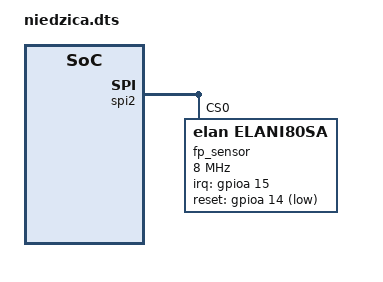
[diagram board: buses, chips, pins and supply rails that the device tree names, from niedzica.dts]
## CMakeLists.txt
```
# Copyright 2026 The ChromiumOS Authors
# Use of this source code is governed by a BSD-style license that can be
# found in the LICENSE file.

zephyr_library_sources("src/platform.c")
```

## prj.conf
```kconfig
# Copyright 2026 The ChromiumOS Authors
# Use of this source code is governed by a BSD-style license that can be
# found in the LICENSE file.

CONFIG_BOARD_EM32F967=y

# The NULL pointer exception page size must be a power of two
# and have size greater or equal ARM_MPU_REGION_MIN_ALIGN_AND_SIZE
CONFIG_CORTEX_M_NULL_POINTER_EXCEPTION_PAGE_SIZE=0x80

# Peripherials
CONFIG_GPIO=y
CONFIG_PWM=y
CONFIG_LED=y
CONFIG_LED_PWM=y
CONFIG_LED_GPIO=n
CONFIG_PINCTRL=y
CONFIG_FLASH_EM32=y
CONFIG_SERIAL=y
CONFIG_CONSOLE=y
CONFIG_UART_CONSOLE=y
CONFIG_UART_EM32=y
CONFIG_CLOCK_CONTROL=y
CONFIG_CLOCK_CONTROL_EM32_AHB=y
CONFIG_CLOCK_CONTROL_EM32_APB=y
CONFIG_DYNAMIC_INTERRUPTS=y

# Stack and rollback protection
CONFIG_ARM_MPU=y
CONFIG_HW_STACK_PROTECTION=y

# USB for host commands
CONFIG_UDC_DRIVER=y
CONFIG_USB_DEVICE_STACK_NEXT=y
CONFIG_UDC_BUF_POOL_SIZE=2048
CONFIG_EC_HOST_CMD_HANDLER_RX_BUFFER_SIZE=528
CONFIG_EC_HOST_CMD_HANDLER_TX_BUFFER_SIZE=520

# Watchdog
CONFIG_PLATFORM_EC_WATCHDOG_PERIOD_MS=10000
CONFIG_PLATFORM_EC_WATCHDOG_WARNING_LEADING_TIME_MS=3000

# MKBP
CONFIG_PLATFORM_EC_MKBP_USE_GPIO=n
CONFIG_PLATFORM_EC_MKBP_USE_USB=y

# Arch init for RO -> RW jump
CONFIG_INIT_ARCH_HW_AT_BOOT=y

CONFIG_USB_DEVICE_MANUFACTURER="Google"
CONFIG_USB_DEVICE_PRODUCT="FPMCU"
CONFIG_USB_DEVICE_VID=0x18D1
CONFIG_USB_DEVICE_PID=0x5405
CONFIG_USB_DEVICE_SELF_POWERED=n
CONFIG_USB_DEVICE_REMOTE_WAKEUP=y
CONFIG_USB_DEVICE_SN="0"
CONFIG_USB_DEVICE_SN_HWINFO=y
CONFIG_USB_DEVICE_MAX_POWER=250

# Make possibility to enter bootloader
CONFIG_PLATFORM_EC_HOST_COMMAND_ENTER_BOOTLOADER=y

# No access to hardware WP pin, use external method
CONFIG_PLATFORM_EC_WP_EXTERNAL=y

# Make sure to start shell before main
CONFIG_PLATFORM_EC_CONSOLE_START_SHELL_TASK=y

# TODO(b/450715297): Enable power saving mode once supported
CONFIG_PM=n
CONFIG_PM_DEVICE=n

# Current rollback version value.
CONFIG_PLATFORM_EC_ROLLBACK_VERSION=1

# Enable signaling logs via events to allow autosuspend
CONFIG_PLATFORM_EC_HOSTCMD_CONSOLE_EVENT=y

# ASCP s_goog replacement
CONFIG_ASCP_S_GOOG_MATCH_FILE="s_goog_match.bin"
CONFIG_ASCP_S_GOOG_REPLACE_FILE="s_goog_replace.bin"
```

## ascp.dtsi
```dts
/* Copyright 2026 The ChromiumOS Authors.
 * Use of this source code is governed by a BSD-style license that can be
 * found in the LICENSE file.
 */

/ {
	ascp: ascp_node {
		compatible = "cros-ec,ascp-mem-map";
		pk-m = <&sdcp_pk_m>;
		s-goog = <&sdcp_s_goog>;
		pk-d = <&sdcp_pk_d>;
		s-m = <&sdcp_s_m>;
		pk-f = <&sdcp_pk_f>;
		h-f = <&sdcp_h_f>;
		s-d = <&sdcp_s_d>;
		sk-f = <&sdcp_sk_f>;
	};
};
```

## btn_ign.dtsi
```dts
/* Copyright 2026 The ChromiumOS Authors
 * Use of this source code is governed by a BSD-style license that can be
 * found in the LICENSE file.
 */

/ {
	aliases {
		gpio-btn-ign-out = &gpio_btn_ign_out;
	};
};
```

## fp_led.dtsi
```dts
/* Copyright 2026 The ChromiumOS Authors.
 * Use of this source code is governed by a BSD-style license that can be
 * found in the LICENSE file.
 */

/{
	pwmleds {
		compatible = "pwm-leds";

		fp_led: fp_led {
			pwms = <&pwm0 1 PWM_MSEC(20) PWM_POLARITY_NORMAL>;
		};
	};

	aliases {
		pwm-fp-led = &fp_led;
	};
};
```

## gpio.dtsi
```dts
/* Copyright 2026 The ChromiumOS Authors.
 * Use of this source code is governed by a BSD-style license that can be
 * found in the LICENSE file.
 */

#include <dt-bindings/gpio_defines.h>

/ {
	named-gpios {
		compatible = "named-gpios";

		entering-rw {
			enum-name = "GPIO_ENTERING_RW";
		};
	};
};
```

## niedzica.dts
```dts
/* Copyright 2026 The ChromiumOS Authors.
 * Use of this source code is governed by a BSD-style license that can be
 * found in the LICENSE file.
 */

#include <elan/32f967_dv_priv.dtsi>

#include "soc.dtsi"
#include "gpio.dtsi"
#include "rwsig.dtsi"
#include "btn_ign.dtsi"
#include "ascp.dtsi"
#include "fp_led.dtsi"
#include <mem.h>

#include <cros/integrated_fwid.dtsi>
#include <cros/integrated_ro_frid.dtsi>

#define ELANI80SA_COMMON_IMAGE_PROPS \
	width = <80>; \
	height = <80>; \
	bits-per-pixel = <14>; \
	frame-size = <12800>; \
	image-data-offset-bytes = <0>; \
	v4l2-pixel-format = "V4L2_PIX_FMT_GREY";

/ {
	chosen {
		cros-fp,fingerprint-sensor = &fp_sensor;
	};
	named-bbram-regions {
		compatible = "named-bbram-regions";

		scratchpad {
			offset = <0x00>;
			size = <0x02>;
		};
		saved-reset-flags {
			offset = <0x02>;
			size = <0x04>;
		};
		saved-panic-reason {
			offset = <0x06>;
			size = <0x02>;
		};
		saved-panic-info {
			offset = <0x08>;
			size = <0x02>;
		};
		saved-panic-exception {
			offset = <0x0a>;
			size = <0x02>;
		};
		saved-panic-flags {
			offset = <0x0c>;
			size = <0x02>;
		};
	};

	/* Erase unit 8k, flash size for firmware 536k. The rest is used for
	 * base image and ROM code
	 */
	binman {
		/* 128kB of RO */
		wp-ro {
			size = <0x20000>;
			ec-ro {
				size = <0x20000>;
				pad-byte = <0xff>;
				ro-fw {
					/*
					 * Clang doesn't emit STT_SECTION symbols (also
					 * called 'section symbols'), so 'rom_start'
					 * symbol is not available. Fortunately, Zephyr
					 * linker scripts provide '__rom_start_address'
					 * symbol which points to the beginning of
					 * 'rom_start' section.
					 */
					elf-base-sym = "__rom_start_address";
				};
				/* SHA256 checksum */
				ro-checksum {
					compatible = "cros-ec,flash-layout";
					type = "section";
					offset = <(0x20000-32)>;
					size = <32>;
					pad-byte = <0xff>;
				};
			};
		};

		/* 8k per rollback */
		rollback0 {
			offset = <0x20000>;
			size = <0x2000>;
			type = "blob";
			filename = "../build-rw/rollback_initial_data.bin";
		};

		rollback1 {
			offset = <0x22000>;
			size = <0x2000>;
			type = "blob";
			filename = "../build-rw/rollback_initial_data.bin";
		};

		ec-rw {
			offset = <0x24000>;
			size = <0x62000>;
			rw-fw {
				/*
				 * Clang doesn't emit STT_SECTION symbols (also
				 * called 'section symbols'), so 'rom_start'
				 * symbol is not available. Fortunately, Zephyr
				 * linker scripts provide '__rom_start_address'
				 * symbol which points to the beginning of
				 * 'rom_start' section.
				 */
				zephyr-rw {
					elf-base-sym = "__rom_start_address";
				};
			};
		};
		pad-byte = <0xff>;
	};
};

&flash0 {
	partitions {
		compatible = "fixed-partitions";
		#address-cells = <1>;
		#size-cells = <1>;

		rollback0: partition@20000 {
			label = "rollback0";
			reg = <0x20000 DT_SIZE_K(8)>;
		};

		rollback1: partition@22000 {
			label = "rollback1";
			reg = <0x22000 DT_SIZE_K(8)>;
		};
		base_image: partition@86000 {
			label = "base_image";
			reg = <0x86000 DT_SIZE_K(20)>;
		};
		ft_info: partition@8b000 {
			label = "factory_test_info";
			reg = <0x8b000 DT_SIZE_K(4)>;
		};
	};
};

&spi2 {
	fp_sensor: elani80sa@0 {
		compatible = "elan,elani80sa";
		reg = <0>;
		spi-max-frequency = <8000000>;

		configs {
			compatible = "fingerprint-image-frame-params";
			config0 {
				ELANI80SA_COMMON_IMAGE_PROPS
				capture-type = "FINGERPRINT_CAPTURE_TYPE_VENDOR_FORMAT";
			};
			config1 {
				ELANI80SA_COMMON_IMAGE_PROPS
				capture-type = "FINGERPRINT_CAPTURE_TYPE_SIMPLE_IMAGE";
			};
			config2 {
				ELANI80SA_COMMON_IMAGE_PROPS
				capture-type = "FINGERPRINT_CAPTURE_TYPE_PATTERN0";
			};
			config3 {
				ELANI80SA_COMMON_IMAGE_PROPS
				capture-type = "FINGERPRINT_CAPTURE_TYPE_PATTERN1";
			};
			config4 {
				ELANI80SA_COMMON_IMAGE_PROPS
				capture-type = "FINGERPRINT_CAPTURE_TYPE_QUALITY_TEST";
			};
			config5 {
				ELANI80SA_COMMON_IMAGE_PROPS
				capture-type = "FINGERPRINT_CAPTURE_TYPE_RESET_TEST";
			};
		};

		irq-gpios = <&gpioa 15 GPIO_ACTIVE_HIGH>;
		reset-gpios = <&gpioa 14 GPIO_ACTIVE_LOW>;
		base-image = <&base_image>;
		ft-info = <&ft_info>;
	};
};
```

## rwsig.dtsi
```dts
/* Copyright 2026 The ChromiumOS Authors.
 * Use of this source code is governed by a BSD-style license that can be
 * found in the LICENSE file.
 */
#include <cros/binman.dtsi>

&binman {
	wp-ro {
		ec-ro {
			key-ro {
				compatible = "cros-ec,flash-layout";
				type = "section";
				offset = <(0x20000-0x400-32)>;
				size = <0x400>;
			};
		};
	};

	ec-rw {
		rw-fw {
			rw-rbver {
				size = <4>;
				type = "null";
				/* points to
				 * current_image_data.rollback_version
				 */
				offset-from-elf = <&zephyr_rw>,
					"current_image_data", <40>;
				overlap;
			};
			sig-rw {
				type = "section";
				offset = <(0x62000-0x400)>;
				size = <0x400>;
			};
			pad-byte = <0xff>;
		};
	};
};
```

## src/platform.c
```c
/* Copyright 2026 The ChromiumOS Authors
 * Use of this source code is governed by a BSD-style license that can be
 * found in the LICENSE file.
 */

#include "system.h"
#include "write_protect.h"

/* Actual implementation is placed in the private repository. */
__weak void chip_enter_bootloader(uint8_t mode)
{
}
```
